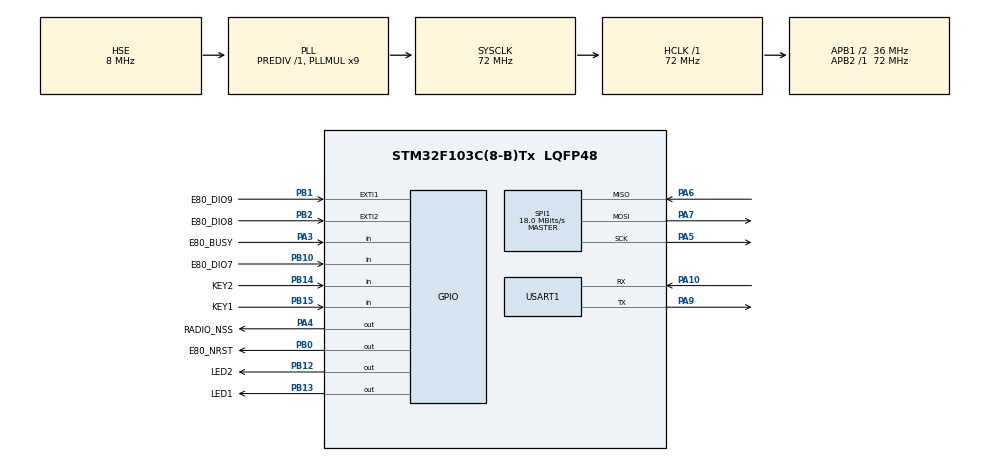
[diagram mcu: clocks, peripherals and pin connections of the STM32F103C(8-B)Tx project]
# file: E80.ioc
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Mcu.Family=STM32F1
Mcu.Name=STM32F103C(8-B)Tx
Mcu.Package=LQFP48
NVIC.EXTI1_IRQn=true\:0\:0\:false\:false\:true\:true\:true\:true
NVIC.EXTI2_IRQn=true\:0\:0\:false\:false\:true\:true\:true\:true
NVIC.PriorityGroup=NVIC_PRIORITYGROUP_4
NVIC.USART1_IRQn=true\:0\:0\:false\:false\:true\:true\:true\:true
PA10.Mode=Asynchronous
PA10.Signal=USART1_RX
PA13.Mode=Serial_Wire
PA13.Signal=SYS_JTMS-SWDIO
PA14.Mode=Serial_Wire
PA14.Signal=SYS_JTCK-SWCLK
PA3.GPIO_Label=E80_BUSY
PA3.Signal=GPIO_Input
PA4.GPIO_Label=RADIO_NSS
PA4.Signal=GPIO_Output
PA5.Mode=Full_Duplex_Master
PA5.Signal=SPI1_SCK
PA6.Mode=Full_Duplex_Master
PA6.Signal=SPI1_MISO
PA7.Mode=Full_Duplex_Master
PA7.Signal=SPI1_MOSI
PA9.Mode=Asynchronous
PA9.Signal=USART1_TX
PB0.GPIO_Label=E80_NRST
PB0.Signal=GPIO_Output
PB1.GPIO_Label=E80_DIO9
PB1.GPIO_ModeDefaultEXTI=GPIO_MODE_IT_RISING
PB1.GPIO_PuPd=GPIO_PULLDOWN
PB1.Signal=GPXTI1
PB10.GPIO_Label=E80_DIO7
PB10.Signal=GPIO_Input
PB12.GPIO_Label=LED2
PB12.Signal=GPIO_Output
PB13.GPIO_Label=LED1
PB13.Signal=GPIO_Output
PB14.GPIO_Label=KEY2
PB14.Signal=GPIO_Input
PB15.GPIO_Label=KEY1
PB15.Signal=GPIO_Input
PB2.GPIO_Label=E80_DIO8
PB2.GPIO_PuPd=GPIO_PULLDOWN
PB2.Signal=GPXTI2
PD0-OSC_IN.Mode=HSE-External-Oscillator
PD0-OSC_IN.Signal=RCC_OSC_IN
PD1-OSC_OUT.Mode=HSE-External-Oscillator
PD1-OSC_OUT.Signal=RCC_OSC_OUT
ProjectManager.HeapSize=0x200
ProjectManager.StackSize=0x400
ProjectManager.TargetToolchain=MDK-ARM V5.32
RCC.AHBFreq_Value=72000000
RCC.APB1CLKDivider=RCC_HCLK_DIV2
RCC.APB1Freq_Value=36000000
RCC.APB1TimFreq_Value=72000000
RCC.APB2Freq_Value=72000000
RCC.APB2TimFreq_Value=72000000
RCC.HCLKFreq_Value=72000000
RCC.PLLMUL=RCC_PLL_MUL9
RCC.PLLSourceVirtual=RCC_PLLSOURCE_HSE
RCC.SYSCLKFreq_VALUE=72000000
RCC.SYSCLKSource=RCC_SYSCLKSOURCE_PLLCLK
RCC.USBFreq_Value=72000000
SPI1.BaudRatePrescaler=SPI_BAUDRATEPRESCALER_4
SPI1.CalculateBaudRate=18.0 MBits/s
SPI1.Direction=SPI_DIRECTION_2LINES
SPI1.Mode=SPI_MODE_MASTER
SPI1.VirtualType=VM_MASTER
USART1.VirtualMode=VM_ASYNC
board=custom

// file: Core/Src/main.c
/* USER CODE BEGIN Header */
/**
  ******************************************************************************
  * @file           : main.c
  * @brief          : Main program body
  ******************************************************************************
  * @attention
  *
  * Copyright (c) 2024 STMicroelectronics.
  * All rights reserved.
  *
  * This software is licensed under terms that can be found in the LICENSE file
  * in the root directory of this software component.
  * If no LICENSE file comes with this software, it is provided AS-IS.
  *
  ******************************************************************************
  */
/* USER CODE END Header */
#include "main.h"

/* USER CODE BEGIN Includes */
#include <stdio.h>
#include "stm32f1xx_hal_pwr.h"
#include "lr20xx_hal.h"
#include "lr20xx_system.h"
#include "lr20xx_regmem.h"
#include "lr20xx_radio_lora_types.h"
#include "lr20xx_radio_lora.h"
#include "user_uart.h"
#include "event.h"
#include "user_radio.h"
#include "string.h"
/* USER CODE END Includes */

SPI_HandleTypeDef hspi1;

UART_HandleTypeDef huart1;

/* USER CODE BEGIN PV */

/* 串口读取数据缓冲区 */
uint8_t opt_buffer[255] = {0};

/* 默认自定义工作频点 */
uint32_t frequency = 850000000;

/* 工厂测试标志 */
uint8_t factory_test = 0;

/* USER CODE END PV */

void SystemClock_Config(void);
static void MX_GPIO_Init(void);
static void MX_SPI1_Init(void);
static void MX_USART1_UART_Init(void);

/* USER CODE BEGIN 0 */
void hal_mcu_disable_irq( void )
{
    __disable_irq( );
}

void hal_mcu_enable_irq( void )
{
    __enable_irq( );
}

uint16_t opt_lenght = 0;
lr20xx_system_irq_mask_t radio_irq_test = LR20XX_SYSTEM_IRQ_NONE;
uint8_t scan_test = 0;
/* USER CODE END 0 */

int main(void)
{
  /* USER CODE BEGIN 1 */
	hal_mcu_disable_irq();
  /* USER CODE END 1 */

  /* MCU Configuration--------------------------------------------------------*/

  /* Reset of all peripherals, Initializes the Flash interface and the Systick. */
  HAL_Init();

  /* Configure the system clock */
  SystemClock_Config();

  /* Initialize all configured peripherals */
  MX_GPIO_Init();
  MX_SPI1_Init();
  MX_USART1_UART_Init();
  /* USER CODE BEGIN 2 */

		/* 清除串口接收中断标志 */
	__HAL_UART_CLEAR_FLAG(&huart1,UART_FLAG_RXNE);

	/* 开启串口接收中断 */
  __HAL_UART_ENABLE_IT(&huart1,UART_IT_RXNE);

	/* 串口中断使能 */
	HAL_NVIC_EnableIRQ( USART1_IRQn );

	/* 串口fifo初始化 */
	uart_fifo_init();

	hal_mcu_enable_irq();

	/* 射频初始化 */
	radio_init( 0x2C, frequency);

  /* 射频进入接收状态 */
	radio_rx();

	/* 系统启动打印信息 */
	printf("Radio enter receive\r\n");
	printf("Enter the main program\r\n");

  /* USER CODE END 2 */

  /* Infinite loop */
  while (1)
  {

    /* USER CODE BEGIN 3 */
		if(event_check( EVENT_UART_RX_DONE ))
		{
			  event_clear(EVENT_UART_RX_DONE);
				/* 读取串口接收内容 */
        uart_read( opt_buffer, &opt_lenght );
			  if((opt_buffer[0] == 0xC1) && (opt_lenght <= 6))
				{
					/* 频率配置 */
					if((opt_buffer[1] == 0x00) && (opt_lenght == 6))
					{
					    frequency	= 0;
						  frequency = frequency | (uint32_t)( opt_buffer[2] << 24 );
							frequency = frequency | (uint32_t)( opt_buffer[3] << 16 );
							frequency = frequency | (uint32_t)( opt_buffer[4] << 8 );
							frequency = frequency | (uint32_t)( opt_buffer[5] << 0 );

						  /* 频率如果大于2.4G 重新配置PA通道及发送参数 */
							if( frequency >= 2400000000 )
							{
									/* LR2021 配置射频工作频点 */
									lr20xx_radio_common_set_rf_freq(E80_CONTEXT, frequency);

									const lr20xx_radio_common_pa_cfg_t pa_cfg = {
										.pa_sel           = LR20XX_RADIO_COMMON_PA_SEL_HF,
										.pa_lf_mode       = LR20XX_RADIO_COMMON_PA_LF_MODE_FSM,
										.pa_lf_duty_cycle = 6,
										.pa_lf_slices     = 7,
										.pa_hf_duty_cycle = 16,
									};

									lr20xx_radio_common_set_pa_cfg( E80_CONTEXT, &pa_cfg );

									lr20xx_radio_common_set_tx_params( E80_CONTEXT, 0x18, LR20XX_RADIO_COMMON_RAMP_304_US );
							}
							/* LR2021 400/900MHz LoRa 配置*/
							else
							{
									/* LR2021 配置射频工作频点 */
									lr20xx_radio_common_set_rf_freq(E80_CONTEXT, frequency);

									const lr20xx_radio_common_pa_cfg_t pa_cfg = {
										.pa_sel           = LR20XX_RADIO_COMMON_PA_SEL_LF,
										.pa_lf_mode       = LR20XX_RADIO_COMMON_PA_LF_MODE_FSM,
										.pa_lf_duty_cycle = 7,
										.pa_lf_slices     = 7,
										.pa_hf_duty_cycle = 16,
									};

									lr20xx_radio_common_set_pa_cfg( E80_CONTEXT, &pa_cfg );

									lr20xx_radio_common_set_tx_params( E80_CONTEXT, 0x2C, LR20XX_RADIO_COMMON_RAMP_304_US );
							}

						  radio_rx();

						  HAL_UART_Transmit(&huart1,opt_buffer , opt_lenght, 100);

					}
					/* 单载波 C1 02 00：stop    C1 02 01：start */
					else if(opt_buffer[1] == 0x02 && (opt_lenght == 3))
					{
							if(opt_buffer[2] == 0x01)
							{
									lr20xx_radio_common_set_tx_test_mode(E80_CONTEXT,LR20XX_RADIO_COMMON_TX_TEST_MODE_CONTINUOUS_WAVE);
								  printf("start tx cw\r\n");
							}
							else if(opt_buffer[2] == 0x00)
							{
									radio_rx();
								  printf("stop tx cw\r\n");
							}
					}
					/* 射频低功耗配置 C1 03 00：退出休眠   C1 03 01：进入休眠 （射频模组7.6uA）*/
					else if(opt_buffer[1] == 0x03 && (opt_lenght == 3))
					{
							if(opt_buffer[2] == 0x01)
							{
								  printf("radio enter sleep\r\n");
									radio_sleep();

								  /* 进入休眠后重新配置spi引脚 */
								  HAL_SPI_DeInit(&hspi1);
								  GPIO_InitTypeDef GPIO_InitStruct = {0};
								  GPIO_InitStruct.Pin = GPIO_PIN_5 | GPIO_PIN_6 | GPIO_PIN_7;
									GPIO_InitStruct.Mode = GPIO_MODE_INPUT;
									GPIO_InitStruct.Pull = GPIO_PULLUP;
									HAL_GPIO_Init(GPIOA, &GPIO_InitStruct);
								  /* 用户按照需求选择是否控制单片机进行休眠 具体可以查看stm32f1xx_hal_pwr.c描述
								     HAL_PWR_EnterSLEEPMode：单片机进入深度休眠
										 HAL_PWR_EnterSTOPMode ：单片机进入停止模式 */
								  HAL_PWR_EnterSLEEPMode(1, PWR_SLEEPENTRY_WFI);
                  //HAL_PWR_EnterSTOPMode(PWR_LOWPOWERREGULATOR_ON,PWR_STOPENTRY_WFI);
							}
							else if(opt_buffer[2] == 0x00)
							{
								  /* RF复位唤醒 */
								  MX_SPI1_Init();
								  radio_init( 22, frequency);
								  radio_rx();
								  printf("radio exit sleep\r\n");
							}
					}
					/* 自动发送数据 C1 C1 C1 */
					else if(opt_buffer[1] == 0xC1 && opt_buffer[2] == 0xC1 && (opt_lenght == 3))
					{
							radio_tx_auto();
					}
				}
				/* 一次性配置射频参数接口 */
				else if(opt_buffer[0] == 0xC2 && opt_lenght == 12)
				{
					  //lr11xx_pa_type_t pa_types = opt_buffer[1];
					  uint8_t powers              = opt_buffer[2];
					  lr20xx_radio_lora_sf_t sf   = opt_buffer[3];
					  lr20xx_radio_lora_bw_t bw   = opt_buffer[4];
					  lr20xx_radio_lora_cr_t cr   = opt_buffer[5];
					  lr20xx_radio_lora_ppm_t ppm = opt_buffer[6];
					  uint8_t synword             = opt_buffer[7];
					  frequency                   = 0;
					  frequency = frequency | (uint32_t)( opt_buffer[8] << 24 );
						frequency = frequency | (uint32_t)( opt_buffer[9] << 16 );
						frequency = frequency | (uint32_t)( opt_buffer[10] << 8 );
						frequency = frequency | (uint32_t)( opt_buffer[11] << 0 );
						radio_inits( powers, frequency, sf, bw, cr, ppm, synword);
					  radio_rx();
				}
				/* factory test mode */
				else if((opt_buffer[0] == 0xC0) && (opt_buffer[1] == 0x00) && (opt_buffer[2] == 0x01) && (opt_lenght == 3))
				{
					  opt_buffer[0] = 0xC0;
					  opt_buffer[1] = 0x01;
					  opt_buffer[2] = 0x01;
						HAL_UART_Transmit(&huart1, (const uint8_t *)opt_buffer, opt_lenght, 100);
					  factory_test = true;
				}
				/* 低空速距离测试 C3 C3 00 + 频率 Sub-G 0.292kbps    C3 C3 01 + 频率 2.4G 0.476kbps*/
				else if((opt_buffer[0] == 0xC3) && (opt_buffer[1] == 0xC3) && (opt_lenght == 7))
				{
					  frequency = 0;
					  frequency = frequency | (uint32_t)( opt_buffer[3] << 24 );
						frequency = frequency | (uint32_t)( opt_buffer[4] << 16 );
						frequency = frequency | (uint32_t)( opt_buffer[5] << 8 );
						frequency = frequency | (uint32_t)( opt_buffer[6] << 0 );

					  if(opt_buffer[2] == 0x00)
						{
							if(frequency > 950000000)
								frequency = 950000000;
							radio_inits( 0x2C, frequency, LR20XX_RADIO_LORA_SF12,
													 LR20XX_RADIO_LORA_BW_125, LR20XX_RADIO_LORA_CR_4_5, 1, 0x12);
						}
						else if(opt_buffer[2] == 0x01)
						{
							if(frequency < 2400000000)
								frequency = 2400000000;
							radio_inits( 0x18, frequency, LR20XX_RADIO_LORA_SF12,
													 LR20XX_RADIO_LORA_BW_203, LR20XX_RADIO_LORA_CR_4_5, 1, 0x12);
						}
						/* 2.4K 对比测试 */
						else if(opt_buffer[2] == 0x02)
						{
							radio_inits(0x2C, frequency, LR20XX_RADIO_LORA_SF11,
													 LR20XX_RADIO_LORA_BW_500, LR20XX_RADIO_LORA_CR_4_5, 1, 0x12);
						}
						radio_rx();
						HAL_UART_Transmit(&huart1, (const uint8_t *)opt_buffer, opt_lenght, 100);
				}
				/* 灵敏度测试 */
				else if((opt_buffer[0] == 0xC4) && (opt_buffer[1] == 0xC4) && (opt_lenght == 7))
				{
						frequency = 0;
					  frequency = frequency | (uint32_t)( opt_buffer[3] << 24 );
						frequency = frequency | (uint32_t)( opt_buffer[4] << 16 );
						frequency = frequency | (uint32_t)( opt_buffer[5] << 8 );
						frequency = frequency | (uint32_t)( opt_buffer[6] << 0 );

					  if(opt_buffer[2] == 0x00)
						{
							if(frequency > 950000000)
								frequency = 950000000;
							radio_inits(0x2C, frequency, LR20XX_RADIO_LORA_SF9,
													 LR20XX_RADIO_LORA_BW_125, LR20XX_RADIO_LORA_CR_4_5, 0, 0x12);
						}
						else if(opt_buffer[2] == 0x01)
						{
							if(frequency < 2400000000)
								frequency = 2400000000;
							radio_inits(0x18, frequency, LR20XX_RADIO_LORA_SF9,
													 LR20XX_RADIO_LORA_BW_125, LR20XX_RADIO_LORA_CR_4_5, 0, 0x12);
						}
						radio_rx();
						HAL_UART_Transmit(&huart1, (const uint8_t *)opt_buffer, opt_lenght, 100);
				}
				/* 如果串口接收数据不满足上述指令配置 直接进行无线传输 */
				else
				{
					radio_tx_custom(opt_buffer,opt_lenght);
					memset(opt_buffer,0,sizeof(opt_buffer));
				}
		}
		/* 射频接收数据完成 */
		if(event_check( EVENT_RADIO_RX_DONE ))
		{
				event_clear(EVENT_RADIO_RX_DONE);

				/* 未检测到factory test 标志 直接打印无线接收到的数据 */
			  if(!factory_test)
				{
					 /* 阻塞式打印射频接收数据 */
					 HAL_UART_Transmit(&huart1, (const uint8_t *)rx_buffer, rx_buffer_lenght, 100);
					 memset(rx_buffer,0,sizeof(rx_buffer));
				}
				/* 检测到factory test 标志 直接把无线接收到的数据通过无线回环给发送方 */
				else
				{
					 HAL_Delay(200);
					 radio_tx_custom(rx_buffer, rx_buffer_lenght);
					 memset(rx_buffer,0,sizeof(rx_buffer));
				}
		}
	}
  /* USER CODE END 3 */
}

void SystemClock_Config(void)
{
  RCC_OscInitTypeDef RCC_OscInitStruct = {0};
  RCC_ClkInitTypeDef RCC_ClkInitStruct = {0};

  /** Initializes the RCC Oscillators according to the specified parameters
  * in the RCC_OscInitTypeDef structure.
  */
  RCC_OscInitStruct.OscillatorType = RCC_OSCILLATORTYPE_HSE;
  RCC_OscInitStruct.HSEState = RCC_HSE_ON;
  RCC_OscInitStruct.HSEPredivValue = RCC_HSE_PREDIV_DIV1;
  RCC_OscInitStruct.HSIState = RCC_HSI_ON;
  RCC_OscInitStruct.PLL.PLLState = RCC_PLL_ON;
  RCC_OscInitStruct.PLL.PLLSource = RCC_PLLSOURCE_HSE;
  RCC_OscInitStruct.PLL.PLLMUL = RCC_PLL_MUL9;
  if (HAL_RCC_OscConfig(&RCC_OscInitStruct) != HAL_OK)
  {
    Error_Handler();
  }

  /** Initializes the CPU, AHB and APB buses clocks
  */
  RCC_ClkInitStruct.ClockType = RCC_CLOCKTYPE_HCLK|RCC_CLOCKTYPE_SYSCLK
                              |RCC_CLOCKTYPE_PCLK1|RCC_CLOCKTYPE_PCLK2;
  RCC_ClkInitStruct.SYSCLKSource = RCC_SYSCLKSOURCE_PLLCLK;
  RCC_ClkInitStruct.AHBCLKDivider = RCC_SYSCLK_DIV1;
  RCC_ClkInitStruct.APB1CLKDivider = RCC_HCLK_DIV2;
  RCC_ClkInitStruct.APB2CLKDivider = RCC_HCLK_DIV1;

  if (HAL_RCC_ClockConfig(&RCC_ClkInitStruct, FLASH_LATENCY_2) != HAL_OK)
  {
    Error_Handler();
  }
}

static void MX_SPI1_Init(void)
{

  /* SPI1 parameter configuration*/
  hspi1.Instance = SPI1;
  hspi1.Init.Mode = SPI_MODE_MASTER;
  hspi1.Init.Direction = SPI_DIRECTION_2LINES;
  hspi1.Init.DataSize = SPI_DATASIZE_8BIT;
  hspi1.Init.CLKPolarity = SPI_POLARITY_LOW;
  hspi1.Init.CLKPhase = SPI_PHASE_1EDGE;
  hspi1.Init.NSS = SPI_NSS_SOFT;
  hspi1.Init.BaudRatePrescaler = SPI_BAUDRATEPRESCALER_8;
  hspi1.Init.FirstBit = SPI_FIRSTBIT_MSB;
  hspi1.Init.TIMode = SPI_TIMODE_DISABLE;
  hspi1.Init.CRCCalculation = SPI_CRCCALCULATION_DISABLE;
  hspi1.Init.CRCPolynomial = 10;
  if (HAL_SPI_Init(&hspi1) != HAL_OK)
  {
    Error_Handler();
  }

}

static void MX_USART1_UART_Init(void)
{

  huart1.Instance = USART1;
  huart1.Init.BaudRate = 115200;
  huart1.Init.WordLength = UART_WORDLENGTH_8B;
  huart1.Init.StopBits = UART_STOPBITS_1;
  huart1.Init.Parity = UART_PARITY_NONE;
  huart1.Init.Mode = UART_MODE_TX_RX;
  huart1.Init.HwFlowCtl = UART_HWCONTROL_NONE;
  huart1.Init.OverSampling = UART_OVERSAMPLING_16;
  if (HAL_UART_Init(&huart1) != HAL_OK)
  {
    Error_Handler();
  }

}

static void MX_GPIO_Init(void)
{
  GPIO_InitTypeDef GPIO_InitStruct = {0};

  /* GPIO Ports Clock Enable */
  __HAL_RCC_GPIOD_CLK_ENABLE();
  __HAL_RCC_GPIOA_CLK_ENABLE();
  __HAL_RCC_GPIOB_CLK_ENABLE();

  /*Configure GPIO pin Output Level */
  HAL_GPIO_WritePin(RADIO_NSS_GPIO_Port, RADIO_NSS_Pin, GPIO_PIN_SET);

  /*Configure GPIO pin Output Level */
  HAL_GPIO_WritePin(GPIOB, E80_NRST_Pin|LED2_Pin|LED1_Pin, GPIO_PIN_SET);

	/*Configure GPIO pin Output Level */
	HAL_GPIO_WritePin(GPIOB, E80_DIO8_Pin|E80_DIO9_Pin, GPIO_PIN_RESET);

  /*Configure GPIO pin : E80_BUSY_Pin */
  GPIO_InitStruct.Pin = E80_BUSY_Pin;
  GPIO_InitStruct.Mode = GPIO_MODE_INPUT;
  GPIO_InitStruct.Pull = GPIO_NOPULL;
  HAL_GPIO_Init(E80_BUSY_GPIO_Port, &GPIO_InitStruct);

  /*Configure GPIO pin : RADIO_NSS_Pin */
  GPIO_InitStruct.Pin = RADIO_NSS_Pin;
  GPIO_InitStruct.Mode = GPIO_MODE_OUTPUT_PP;
  GPIO_InitStruct.Pull = GPIO_PULLUP;
  GPIO_InitStruct.Speed = GPIO_SPEED_FREQ_LOW;
  HAL_GPIO_Init(RADIO_NSS_GPIO_Port, &GPIO_InitStruct);

  /*Configure GPIO pins : E80_NRST_Pin LED2_Pin LED1_Pin */
  GPIO_InitStruct.Pin = E80_NRST_Pin|LED2_Pin|LED1_Pin;
  GPIO_InitStruct.Mode = GPIO_MODE_OUTPUT_PP;
  GPIO_InitStruct.Pull = GPIO_PULLUP;
  GPIO_InitStruct.Speed = GPIO_SPEED_FREQ_LOW;
  HAL_GPIO_Init(GPIOB, &GPIO_InitStruct);

  /*Configure GPIO pins : E80_DIO9_Pin E80_DIO8_Pin */
  GPIO_InitStruct.Pin = E80_DIO8_Pin | E80_DIO9_Pin;
  GPIO_InitStruct.Mode = GPIO_MODE_IT_RISING;
  GPIO_InitStruct.Pull = GPIO_PULLDOWN;
  HAL_GPIO_Init(GPIOB, &GPIO_InitStruct);

  /*Configure GPIO pins : E80_DIO7_Pin KEY2_Pin KEY1_Pin */
  GPIO_InitStruct.Pin = KEY2_Pin|KEY1_Pin;
  GPIO_InitStruct.Mode = GPIO_MODE_INPUT;
  GPIO_InitStruct.Pull = GPIO_PULLUP;
  HAL_GPIO_Init(GPIOB, &GPIO_InitStruct);

  /* EXTI interrupt init*/
  HAL_NVIC_SetPriority(EXTI1_IRQn, 0, 0);
  HAL_NVIC_EnableIRQ(EXTI1_IRQn);

  HAL_NVIC_SetPriority(EXTI2_IRQn, 0, 0);
  HAL_NVIC_EnableIRQ(EXTI2_IRQn);

}

/* USER CODE BEGIN 4 */
int fputc(int ch, FILE *f)
{
    // 将字符发送到串口1，超时时间设为最大值
    HAL_UART_Transmit(&huart1, (uint8_t *)&ch, 1, 100);
    return ch;
}
/* USER CODE END 4 */

void Error_Handler(void)
{
  __disable_irq();
  while (1)
  {
  }
}
